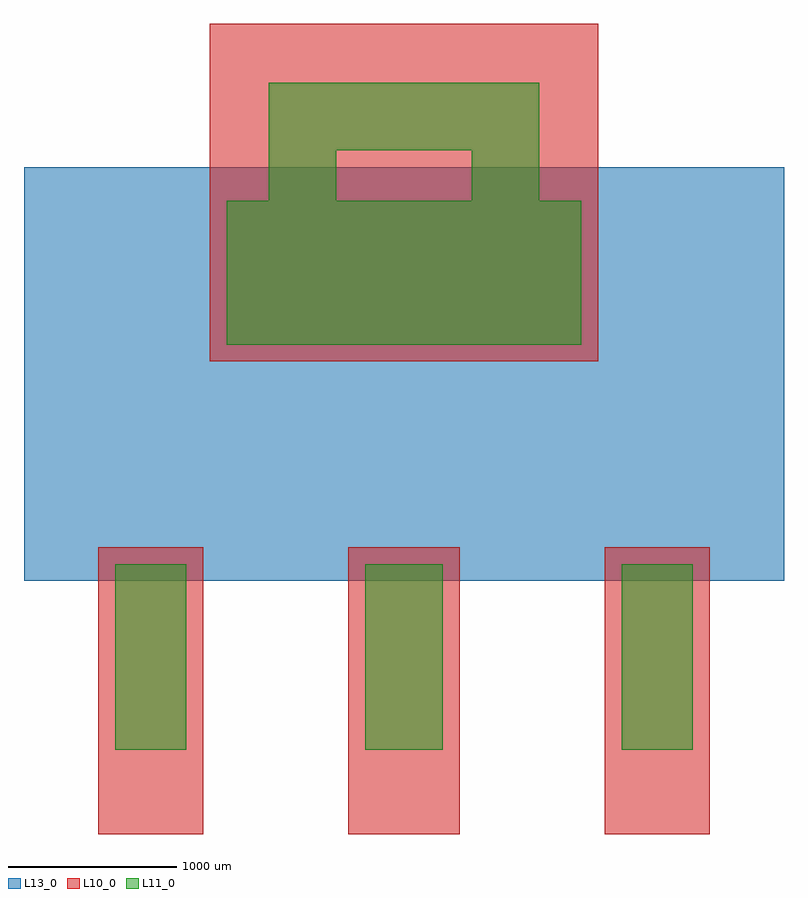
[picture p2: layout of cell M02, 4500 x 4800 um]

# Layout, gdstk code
import gdstk
lib = gdstk.Library(unit=1e-6, precision=1e-09)
def R(c, l, rs):  # rectangles x0, y0, x1, y1
    for r in rs: c.add(gdstk.rectangle(r[:2], r[2:], *l))
def P(c, l, *ps):  # polygons
    for p in ps: c.add(gdstk.Polygon(p, *l))
L10_0 = (10, 0)
L11_0 = (11, 0)
L13_0 = (13, 0)
L99_1 = (99, 1)
L99_2 = (99, 2)
L99_3 = (99, 3)

m02 = lib.new_cell('M02')
R(m02, L10_0, [(440,-1500,1060,200), (1920,-1500,2580,200), (3440,-1500,4060,200), (1100,1300,3400,3300)])
R(m02, L11_0, [(540,-1000,960,100), (2020,-1000,2480,100), (3540,-1000,3960,100), (1200,1400,3300,2250)])
P(m02, L11_0, [(1450,2250),(1850,2250),(1850,2550),(2650,2550),(2650,2250),(3050,2250),(3050,2950),(1450,2950)])
R(m02, L13_0, [(0,0,4500,2450)])
m02.add(gdstk.FlexPath([(2580,200),(1920,200)], 0, ends="round", simple_path=True, layer=99, datatype=1))  # L99_1
m02.add(gdstk.FlexPath([(1100,1300),(3400,1300)], 0, ends="round", simple_path=True, layer=99, datatype=2))  # L99_2
m02.add(gdstk.FlexPath([(4060,200),(3440,200)], 0, ends="round", simple_path=True, layer=99, datatype=3))  # L99_3
m02.add(gdstk.FlexPath([(1060,200),(440,200)], 0, ends="round", simple_path=True, layer=99, datatype=3))  # L99_3

lib.write_gds('M02.gds')
